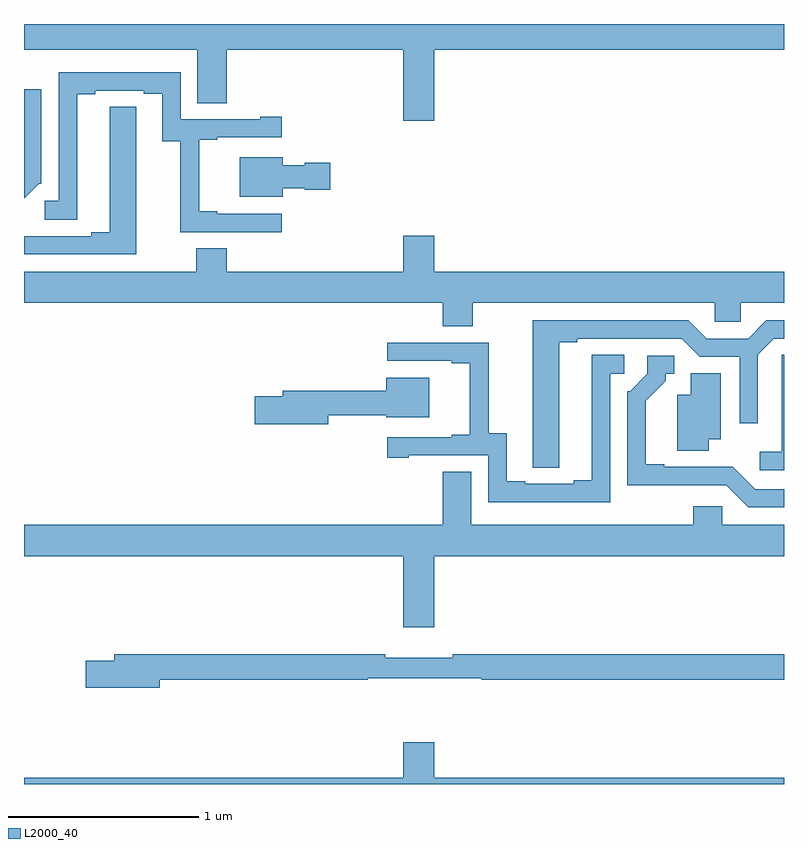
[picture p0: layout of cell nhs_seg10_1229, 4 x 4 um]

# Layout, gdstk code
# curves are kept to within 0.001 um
import gdstk
lib = gdstk.Library(unit=1e-6, precision=1e-09)
def P(c, l, *ps):  # polygons
    for p in ps: c.add(gdstk.Polygon(p, *l))
L2000_40 = (2000, 40)

nhs_seg10_1229 = lib.new_cell('nhs_seg10_1229')
P(nhs_seg10_1229, L2000_40, [(177.16,1252.364),(179,1252.364),(179,1252.5),(175,1252.5),(175,1252.364),(175.913,1252.364),(175.913,1252.084),(176.066,1252.084),(176.066,1252.364),(176.996,1252.364),(176.996,1251.99),(177.16,1251.99)],
  [(176.356,1251.501),(176.017,1251.501),(176.017,1251.514),(175.922,1251.514),(175.922,1251.891),(176.017,1251.891),(176.017,1251.903),(176.356,1251.903),(176.356,1252.012),(176.243,1252.012),(176.243,1251.999),(175.824,1251.999),(175.824,1252.245),(175.182,1252.245),(175.182,1251.57),(175.11,1251.57),(175.11,1251.469),(175.279,1251.469),(175.279,1252.129),(175.375,1252.129),(175.375,1252.149),(175.631,1252.149),(175.631,1252.134),(175.727,1252.134),(175.727,1251.883),(175.822,1251.883),(175.822,1251.405),(176.356,1251.405)],
  [(175.077,1251.66),(175.092,1251.66),(175.092,1252.157),(175,1252.157),(175,1251.583)],
  [(175.591,1251.956),(175.59,1251.956),(175.59,1252.064),(175.451,1252.064),(175.451,1251.404),(175.355,1251.404),(175.355,1251.384),(175,1251.384),(175,1251.288),(175.591,1251.288)],
  [(176.362,1251.635),(176.478,1251.635),(176.478,1251.628),(176.611,1251.628),(176.611,1251.77),(176.478,1251.77),(176.478,1251.757),(176.362,1251.757),(176.362,1251.799),(176.135,1251.799),(176.135,1251.59),(176.362,1251.59)],
  [(177.363,1251.032),(178.635,1251.032),(178.635,1250.934),(178.773,1250.934),(178.773,1251.032),(179,1251.032),(179,1251.196),(177.16,1251.196),(177.16,1251.385),(176.996,1251.385),(176.996,1251.196),(176.066,1251.196),(176.066,1251.32),(175.906,1251.32),(175.906,1251.196),(175,1251.196),(175,1251.032),(177.203,1251.032),(177.203,1250.908),(177.363,1250.908)],
  [(177.817,1250.824),(177.913,1250.824),(177.913,1250.844),(178.461,1250.844),(178.557,1250.748),(178.767,1250.748),(178.767,1250.4),(178.863,1250.4),(178.863,1250.76),(178.947,1250.844),(179,1250.844),(179,1250.94),(178.907,1250.94),(178.811,1250.844),(178.593,1250.844),(178.497,1250.94),(177.677,1250.94),(177.678,1250.164),(177.817,1250.164)],
  [(178.086,1250.658),(178.159,1250.658),(178.159,1250.759),(177.989,1250.759),(177.989,1250.099),(177.893,1250.099),(177.893,1250.079),(177.637,1250.079),(177.637,1250.094),(177.541,1250.094),(177.541,1250.345),(177.447,1250.345),(177.447,1250.823),(176.913,1250.823),(176.913,1250.727),(177.251,1250.727),(177.251,1250.715),(177.347,1250.715),(177.347,1250.338),(177.251,1250.338),(177.251,1250.325),(176.913,1250.325),(176.913,1250.217),(177.025,1250.217),(177.025,1250.229),(177.444,1250.229),(177.444,1249.983),(178.086,1249.983)],
  [(179,1250.759),(178.989,1250.759),(178.989,1250.651),(178.988,1250.651),(178.988,1250.248),(178.872,1250.248),(178.872,1250.151),(179,1250.151)],
  [(179,1250.052),(178.848,1250.052),(178.73,1250.17),(178.369,1250.169),(178.369,1250.182),(178.273,1250.182),(178.273,1250.518),(178.378,1250.623),(178.378,1250.658),(178.423,1250.658),(178.423,1250.754),(178.281,1250.754),(178.281,1250.658),(178.191,1250.568),(178.176,1250.568),(178.176,1250.072),(178.695,1250.073),(178.812,1249.956),(179,1249.956)],
  [(178.603,1250.315),(178.666,1250.315),(178.666,1250.663),(178.508,1250.663),(178.508,1250.548),(178.439,1250.548),(178.439,1250.254),(178.603,1250.254)],
  [(176.602,1250.44),(176.906,1250.44),(176.906,1250.429),(177.133,1250.429),(177.133,1250.638),(176.906,1250.638),(176.906,1250.569),(176.363,1250.569),(176.363,1250.54),(176.214,1250.54),(176.214,1250.393),(176.602,1250.393)],
  [(177.16,1249.7),(179,1249.7),(179,1249.864),(178.674,1249.864),(178.674,1249.962),(178.523,1249.962),(178.523,1249.864),(177.355,1249.864),(177.355,1250.144),(177.203,1250.144),(177.203,1249.864),(175,1249.864),(175,1249.7),(176.996,1249.7),(176.996,1249.326),(177.16,1249.326)],
  [(175.714,1249.048),(176.81,1249.048),(176.81,1249.056),(177.41,1249.056),(177.41,1249.048),(179,1249.048),(179,1249.184),(177.256,1249.184),(177.256,1249.165),(176.9,1249.165),(176.9,1249.184),(175.475,1249.184),(175.475,1249.148),(175.326,1249.148),(175.326,1249.006),(175.714,1249.006)],
  [(179,1248.532),(177.16,1248.532),(177.16,1248.721),(176.996,1248.721),(176.996,1248.532),(175,1248.532),(175,1248.5),(179,1248.5)])

lib.write_gds('nhs_seg10_1229.gds')
